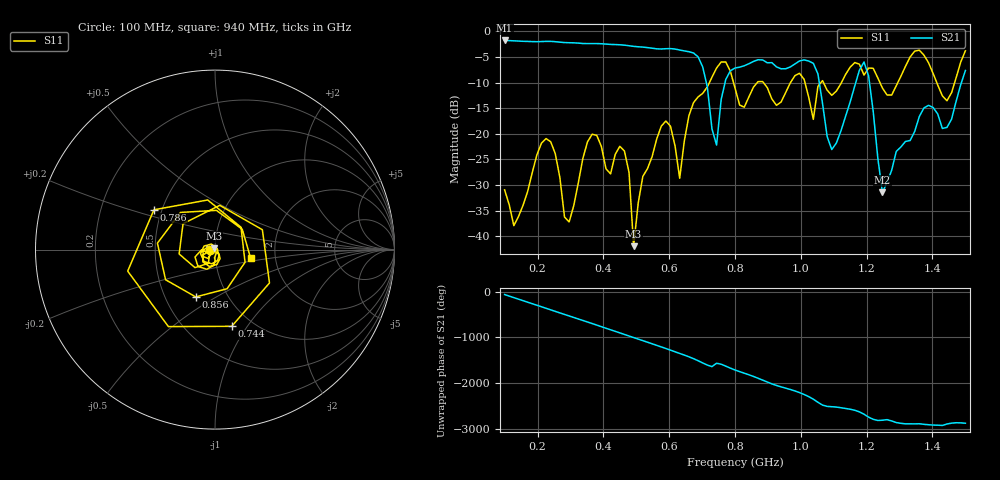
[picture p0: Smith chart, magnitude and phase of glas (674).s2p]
! NanoVNA-App
! Date: 2025-09-25 16:00:43
! Start: 100MHz Stop: 1,5GHz Points: 101
! S-Parameter data: F S11 S21 S12 S22
# Hz S RI R 50
!  Frequency  S11_Real  S11_Imag  S21_Real  S21_Imag  S12_Real  S12_Imag  S22_Real  S22_Imag
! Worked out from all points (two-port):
!   101 points, 100 MHz to 1.5 GHz, reference 50 ohm
!   highest |S21| = -1.80 dB at 100 MHz (marker M1); lowest = -31.4 dB at 1.248 GHz (marker M2)
!   |S21| within 3 dB of the highest: start of sweep to 684.3 MHz
!   lowest |S11| = -41.9 dB at 492 MHz (marker M3), VSWR 1.02, Z = 49.5 + j0.627 ohm
!   |S11| at or under -10 dB: start of sweep to 722.4 MHz; 795.4 MHz to 867.8 MHz (72.42 MHz wide, 8.71 % of centre); 886.2 MHz to 968.7 MHz (82.56 MHz wide, 8.9 % of centre) (the widest 3 of 7)
!   S12 and S22 are empty: the file has one direction only
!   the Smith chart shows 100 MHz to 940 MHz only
!   S11 on the Smith chart (normalised r, x): 100 MHz: 0.94, -0.01; 744 MHz: 0.80, -0.85; 786 MHz: 0.45, +0.24; 856 MHz: 0.71, -0.41; 940 MHz: 1.49, -0.15
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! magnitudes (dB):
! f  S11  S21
! 100 MHz  -30.9  -1.8
! 128 MHz  -37.9  -1.9
! 226 MHz  -20.9  -2.0
! 296 MHz  -37.2  -2.2
! 338 MHz  -24.7  -2.4
! 464 MHz  -23.3  -2.7
! 492 MHz  -41.9  -3.0
! 576 MHz  -18.5  -3.5
! 632 MHz  -28.7  -3.7
! 702 MHz  -12.1  -7.0
! 744 MHz  -7.2  -22.2
! 786 MHz  -7.8  -7.7
! 800 MHz  -11.1  -7.2
! 856 MHz  -10.9  -5.9
! 940 MHz  -13.8  -7.3
! 1.038 GHz  -17.2  -6.3
! 1.094 GHz  -12.5  -23.1
! 1.192 GHz  -8.6  -6.0
! 1.248 GHz  -11.1  -31.4
! 1.276 GHz  -12.4  -27.1
! 1.444 GHz  -13.6  -18.8
! 1.5 GHz  -3.8  -7.7
